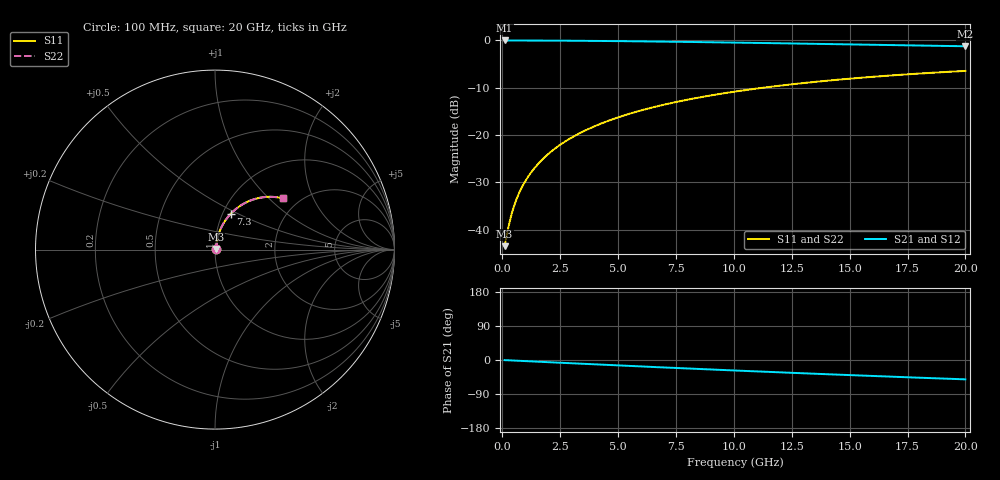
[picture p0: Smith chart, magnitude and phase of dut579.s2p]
! Touchstone file exported from HFSS 2026.1.0
!  File:  C:/ffzhzh/LocalFiles/Ansys_Project_Files/temp_train_TMRDL_579_1783008219_55676.aedt
!  Generated:  12:04:57 AM Jul  3, 2026
!  Design:  TMRDL
!  Project:  temp_train_TMRDL_579_1783008219_55676
! Variables:
!  h_bsmrdl = 2um
!  h_ox = 20um
!  h_rdl = 5um
!  h_sub = 80um
!  h_tmrdl = 3.79um
!  h_tsv = 80um
!  h_via = 3um
!  l_bsmrdl = 300um
!  l_sub = 1174.42um
!  l_tmrdl = 774.42um
!  m_sub = 200um
!  pitch = 35.19um
!  r_tsv = 6um
!  s_tmrdl = 10um
!  w_bsmrdl = 18um
!  w_sub = 500um
!  w_tmrdl = 12.49um
!  x_tsv_center1 = 780.665um
!  x_tsv_center2 = 1098.665um
!  x_tsv_center3 = 1885.575um
!  x_tsv_center4 = 2203.575um
!  x_tsv_center5 = 2990.485um
!  x_tsv_center6 = 3308.485um
# GHz S MA R 50.000000
! Terminal data exported
! Port[1] = TM_RDL1_1_T1
! Port[2] = TM_RDL1_1_T2
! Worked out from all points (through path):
!   200 points, 100 MHz to 20 GHz, reference 50 ohm
!   highest |S21| = -0.05 dB at 100 MHz (marker M1); lowest = -1.3 dB at 20 GHz (marker M2)
!   group delay of S21, straight-line fit = 7.09 ps
!   lowest |S11| = -43.5 dB at 100 MHz (marker M3), VSWR 1.01, Z = 50.6 + j0.338 ohm
!   |S11| at or under -10 dB: start of sweep to 11.3 GHz
!   |S22| runs from -43.5 to -6.5 dB; largest |S21 - S12| = 3.4e-15
!   S11 on the Smith chart (normalised r, x): 100 MHz: 1.01, +0.01; 7.3 GHz: 1.09, +0.46; 20 GHz: 1.66, +1.22
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0.1  0.006712 29.8  0.9942 -0.3  0.9942 -0.3  0.006712 29.8
! Gamma 0 0 0 0
! Port Impedance 50 0 50 0
0.3  0.01168 57.9  0.9939 -0.9  0.9939 -0.9  0.01168 57.9
0.4  0.0146 63.7  0.9937 -1.2  0.9937 -1.2  0.0146 63.7
0.5  0.01759 67.4  0.9935 -1.5  0.9935 -1.5  0.01759 67.4
0.6  0.0206 69.9  0.9933 -1.8  0.9933 -1.8  0.02061 69.9
0.8  0.02667 73.1  0.993 -2.3  0.993 -2.3  0.02667 73.1
1  0.03277 75.0  0.9927 -2.9  0.9927 -2.9  0.03277 75.0
1.2  0.03889 76.1  0.9923 -3.5  0.9923 -3.5  0.03889 76.1
1.4  0.04503 76.8  0.9919 -4.1  0.9919 -4.1  0.04503 76.8
1.7  0.05425 77.3  0.9913 -4.9  0.9913 -4.9  0.05425 77.3
2.2  0.06961 77.4  0.9901 -6.4  0.9901 -6.4  0.06961 77.4
2.8  0.08795 76.7  0.9882 -8.1  0.9882 -8.1  0.08796 76.7
3.5  0.1091 75.5  0.9856 -10.1  0.9856 -10.1  0.1091 75.5
4.2  0.13 74.0  0.9825 -12.0  0.9825 -12.0  0.13 74.0
5  0.1534 72.1  0.9785 -14.3  0.9785 -14.3  0.1534 72.1
6.8  0.2039 67.6  0.9677 -19.2  0.9677 -19.2  0.2039 67.6
7.3  0.2174 66.4  0.9643 -20.5  0.9643 -20.5  0.2174 66.3
8.6  0.2513 63.1  0.9551 -24.0  0.9551 -24.0  0.2513 63.1
10.1  0.2883 59.4  0.9437 -27.9  0.9437 -27.9  0.2883 59.4
13.4  0.3614 51.5  0.9168 -36.1  0.9168 -36.1  0.3614 51.5
16.7  0.4234 44.0  0.8894 -43.8  0.8894 -43.8  0.4234 44.0
20  0.4745 37.0  0.8633 -51.1  0.8633 -51.1  0.4745 36.9
